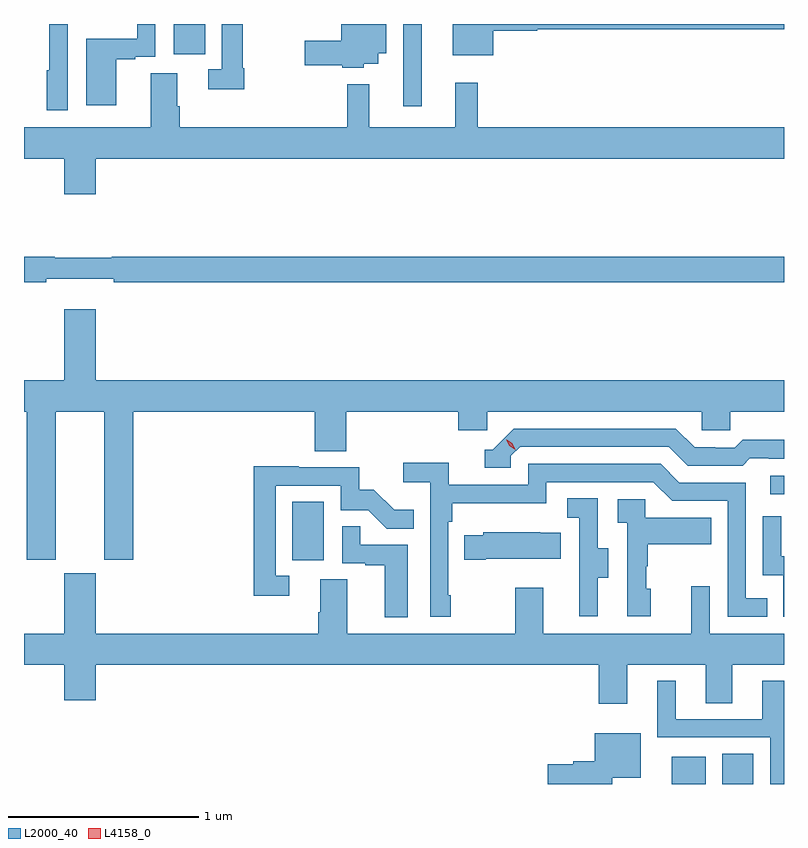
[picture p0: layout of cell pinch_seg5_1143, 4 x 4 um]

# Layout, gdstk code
import gdstk
lib = gdstk.Library(unit=1e-6, precision=1e-09)
def R(c, l, rs):  # rectangles x0, y0, x1, y1
    for r in rs: c.add(gdstk.rectangle(r[:2], r[2:], *l))
def P(c, l, *ps):  # polygons
    for p in ps: c.add(gdstk.Polygon(p, *l))
L2000_40 = (2000, 40)
L4158_0 = (4158, 0)

pinch_seg5_1143 = lib.new_cell('pinch_seg5_1143')
R(pinch_seg5_1143, L2000_40, [(839.531,842.812,839.71,842.956), (839.798,842.812,839.962,842.972), (837.536,843.99,837.7,844.297), (840.051,844.338,840.123,844.434), (838.119,846.378,838.216,846.812), (836.912,846.654,837.076,846.812)])
P(pinch_seg5_1143, L2000_40, [(837.281,846.58),(837.274,846.58),(837.274,846.81),(837.266,846.81),(837.266,846.812),(837.165,846.812),(837.165,846.573),(837.093,846.573),(837.093,846.468),(837.281,846.468)],
  [(836.608,846.627),(836.708,846.627),(836.708,846.639),(836.814,846.639),(836.814,846.812),(836.719,846.812),(836.719,846.735),(836.45,846.735),(836.45,846.384),(836.608,846.384)],
  [(837.912,846.602),(837.988,846.602),(837.988,846.659),(838.03,846.659),(838.03,846.812),(837.794,846.812),(837.794,846.724),(837.6,846.724),(837.6,846.595),(837.798,846.595),(837.798,846.581),(837.912,846.581)],
  [(836.352,846.812),(836.255,846.812),(836.255,846.569),(836.244,846.569),(836.244,846.357),(836.352,846.357)],
  [(838.594,846.776),(838.824,846.776),(838.824,846.784),(840.123,846.784),(840.123,846.812),(838.379,846.812),(838.379,846.647),(838.594,846.647)],
  [(836.5,846.104),(840.123,846.104),(840.123,846.268),(838.511,846.268),(838.511,846.502),(838.394,846.502),(838.394,846.268),(837.941,846.268),(837.941,846.496),(837.823,846.496),(837.823,846.268),(836.942,846.268),(836.942,846.38),(836.929,846.38),(836.929,846.554),(836.789,846.554),(836.789,846.268),(836.123,846.268),(836.123,846.104),(836.336,846.104),(836.336,845.916),(836.5,845.916)],
  [(836.24,845.471),(836.596,845.471),(836.596,845.452),(840.123,845.452),(840.123,845.588),(836.585,845.588),(836.585,845.581),(836.285,845.581),(836.285,845.588),(836.123,845.588),(836.123,845.452),(836.24,845.452)],
  [(836.29,844.772),(836.546,844.772),(836.546,843.993),(836.699,843.993),(836.699,844.772),(837.653,844.772),(837.653,844.564),(837.818,844.564),(837.818,844.772),(838.409,844.772),(838.409,844.674),(838.56,844.674),(838.56,844.772),(839.691,844.772),(839.691,844.674),(839.841,844.674),(839.841,844.772),(840.123,844.772),(840.123,844.936),(836.5,844.936),(836.5,845.311),(836.336,845.311),(836.336,844.936),(836.123,844.936),(836.123,844.772),(836.138,844.772),(836.138,843.993),(836.29,843.993)],
  [(838.686,844.539),(838.734,844.587),(839.517,844.587),(839.616,844.488),(839.905,844.488),(839.944,844.527),(840.043,844.527),(840.043,844.524),(840.123,844.524),(840.123,844.624),(839.905,844.624),(839.863,844.581),(839.76,844.581),(839.76,844.584),(839.653,844.584),(839.554,844.683),(838.701,844.683),(838.59,844.572),(838.547,844.572),(838.547,844.476),(838.686,844.476)],
  [(838.369,843.805),(838.356,843.805),(838.356,844.193),(838.376,844.193),(838.376,844.289),(838.872,844.289),(838.872,844.401),(839.436,844.401),(839.535,844.302),(839.826,844.302),(839.826,843.693),(840.035,843.693),(840.035,843.789),(839.922,843.789),(839.922,844.398),(839.572,844.398),(839.473,844.497),(838.776,844.497),(838.776,844.386),(838.358,844.386),(838.358,844.502),(838.119,844.502),(838.119,844.4),(838.26,844.4),(838.26,843.693),(838.369,843.693)],
  [(837.52,843.909),(837.447,843.909),(837.447,844.383),(837.789,844.383),(837.789,844.254),(837.934,844.254),(838.032,844.156),(838.175,844.156),(838.175,844.255),(838.071,844.255),(837.964,844.362),(837.888,844.362),(837.888,844.479),(837.569,844.479),(837.569,844.484),(837.331,844.484),(837.331,843.804),(837.52,843.804)],
  [(839.143,843.898),(839.197,843.898),(839.197,844.053),(839.142,844.053),(839.142,844.316),(838.983,844.316),(838.983,844.213),(839.046,844.213),(839.046,843.909),(839.045,843.909),(839.045,843.696),(839.143,843.696)],
  [(839.422,843.84),(839.397,843.84),(839.397,843.959),(839.407,843.959),(839.407,844.073),(839.741,844.073),(839.741,844.213),(839.394,844.213),(839.394,844.311),(839.247,844.311),(839.247,844.187),(839.298,844.187),(839.298,843.696),(839.422,843.696)],
  [(840.123,844.01),(840.108,844.01),(840.108,844.222),(840.012,844.222),(840.012,843.912),(840.12,843.912),(840.12,843.693),(840.123,843.693)],
  [(838.144,844.071),(837.893,844.071),(837.893,844.169),(837.798,844.169),(837.798,843.975),(837.919,843.975),(837.919,843.963),(838.022,843.963),(838.022,843.689),(838.144,843.689)],
  [(838.552,843.998),(838.949,843.998),(838.949,844.135),(838.841,844.135),(838.841,844.138),(838.539,844.138),(838.539,844.12),(838.441,844.12),(838.441,843.991),(838.552,843.991)],
  [(839.299,843.44),(839.711,843.44),(839.711,843.238),(839.851,843.238),(839.851,843.44),(840.123,843.44),(840.123,843.604),(839.733,843.604),(839.733,843.853),(839.636,843.853),(839.636,843.604),(838.855,843.604),(838.855,843.844),(838.708,843.844),(838.708,843.604),(837.823,843.604),(837.823,843.89),(837.683,843.89),(837.683,843.716),(837.671,843.716),(837.671,843.604),(836.5,843.604),(836.5,843.921),(836.336,843.921),(836.336,843.604),(836.123,843.604),(836.123,843.44),(836.336,843.44),(836.336,843.252),(836.5,843.252),(836.5,843.44),(839.147,843.44),(839.147,843.234),(839.299,843.234)],
  [(840.123,843.355),(840.008,843.355),(840.008,843.153),(839.554,843.153),(839.554,843.355),(839.456,843.355),(839.456,843.057),(840.051,843.057),(840.051,842.812),(840.123,842.812)],
  [(839.22,842.846),(839.368,842.846),(839.368,843.079),(839.126,843.079),(839.126,842.931),(839.013,842.931),(839.013,842.917),(838.88,842.917),(838.88,842.812),(839.22,842.812)])
P(pinch_seg5_1143, L4158_0, [(838.708,844.572),(838.678,844.591),(838.662,844.624),(838.662,844.624),(838.663,844.624),(838.693,844.605),(838.708,844.572),(838.708,844.572)])

lib.write_gds('pinch_seg5_1143.gds')
